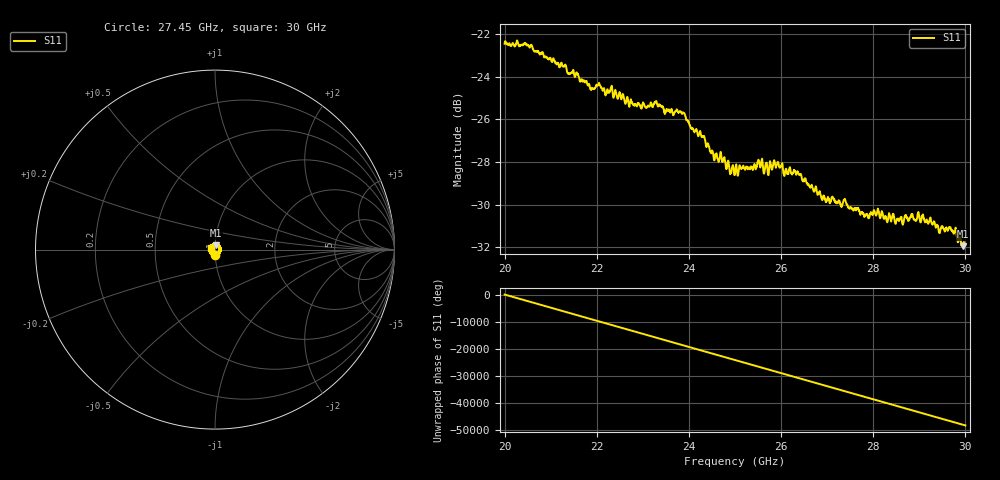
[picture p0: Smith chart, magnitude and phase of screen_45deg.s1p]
#  HZ  S  RI  R  50.00
! Rohde & Schwarz ZVA40 4Ports - Version 3.90 - 1145.1110k42 SN: 100403
! Date: 2023-09-28 11:15:11
! Measurement: S12
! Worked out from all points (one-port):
!   5001 points, 20 GHz to 30 GHz, reference 50 ohm
!   lowest |S11| = -32.0 dB at 29.94 GHz (marker M1), VSWR 1.05, Z = 50.4 + j2.51 ohm
!   |S11| at or under -10 dB: start of sweep to end of sweep
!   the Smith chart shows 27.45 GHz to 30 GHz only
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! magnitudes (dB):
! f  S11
! 20 GHz  -22.5
! 20.47 GHz  -22.5
! 21.25 GHz  -23.4
! 21.89 GHz  -24.5
! 22.04 GHz  -24.4
! 22.5 GHz  -24.7
! 22.83 GHz  -25.3
! 23.28 GHz  -25.2
! 23.5 GHz  -25.6
! 23.75 GHz  -25.6
! 24.29 GHz  -26.8
! 24.52 GHz  -27.5
! 25 GHz  -28.6
! 25.55 GHz  -28.3
! 25.68 GHz  -28.1
! 25.89 GHz  -28.3
! 26.1 GHz  -28.4
! 26.25 GHz  -28.5
! 26.93 GHz  -29.6
! 27.39 GHz  -29.8
! 27.5 GHz  -30.1
! 27.86 GHz  -30.4
! 28.06 GHz  -30.5
! 28.27 GHz  -30.6
! 28.75 GHz  -30.7
! 29.68 GHz  -31.1
! 29.94 GHz  -32.0
! 30 GHz  -31.9
